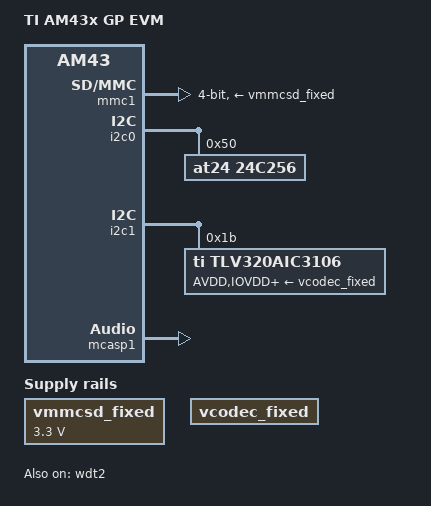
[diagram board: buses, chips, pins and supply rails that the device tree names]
/*
 * Copyright (C) 2013 Texas Instruments Incorporated - http://www.ti.com/
 *
 * This program is free software; you can redistribute it and/or modify
 * it under the terms of the GNU General Public License version 2 as
 * published by the Free Software Foundation.
 */

/* AM43x GP EVM */

/dts-v1/;

#include "am4372.dtsi"
#include <dt-bindings/pinctrl/am43xx.h>
#include <dt-bindings/gpio/gpio.h>

/ {
	model = "TI AM43x GP EVM";
	compatible = "ti,am43x-gp-evm","ti,am4372","ti,am43";

	vmmcsd_fixed: fixedregulator-sd {
		compatible = "regulator-fixed";
		regulator-name = "vmmcsd_fixed";
		regulator-min-microvolt = <3300000>;
		regulator-max-microvolt = <3300000>;
		enable-active-high;
	};

	vcodec_fixed: fixedregulator-codec {
		compatible = "regulator-fixed";
		regulator-name = "vcodec_fixed";
		enable-active-high;
	};

	am43xx_pinmux: pinmux@44e10800 {

		i2c0_pins: pinmux_i2c0_pins {
			pinctrl-single,pins = <
				0x188 (PIN_INPUT_PULLUP | SLEWCTRL_FAST | MUX_MODE0)	/* i2c0_sda.i2c0_sda */
				0x18c (PIN_INPUT_PULLUP | SLEWCTRL_FAST | MUX_MODE0)	/* i2c0_scl.i2c0_scl */
			>;
		};

		i2c1_pins: i2c1_pins {
			pinctrl-single,pins = <
				0x15c	(PIN_INPUT_PULLUP | SLEWCTRL_FAST | MUX_MODE2)	/* spi0_cs0.i2c1_scl */
				0x158	(PIN_INPUT_PULLUP | SLEWCTRL_FAST | MUX_MODE2)	/* spi0_d1.i2c1_sda */
			>;
		};

		mcasp1_pins: pinmux_mcasp1_pins {
			pinctrl-single,pins = <
				0x10c (PIN_INPUT_PULLDOWN | MUX_MODE4) /* mii1_crs.mcasp1_aclkx */
				0x110 (PIN_INPUT_PULLDOWN | MUX_MODE4) /* mii1_rxerr.mcasp1_fsx */
				0x108 (PIN_OUTPUT_PULLDOWN | MUX_MODE4) /* mii1_col.mcasp1_axr2 */
				0x144 (PIN_INPUT_PULLDOWN | MUX_MODE4) /* rmii1_ref_clk.mcasp1_axr3 */
			>;
		};
	};

	ocp {
		sound {
			compatible = "ti,da830-evm-audio";
			ti,model = "AM335x-EVM";
			ti,audio-codec = <&tlv320aic3106>;
			ti,mcasp-controller = <&mcasp1>;
			ti,codec-clock-rate = <12000000>;
			ti,audio-routing =
				"Headphone Jack",       "HPLOUT",
				"Headphone Jack",       "HPROUT",
				"LINE1L",               "Line In",
				"LINE1R",               "Line In";
		};
	};
};

&mmc1 {
	status = "okay";
	vmmc-supply = <&vmmcsd_fixed>;
	bus-width = <4>;
};

&i2c0 {
	status = "okay";
	pinctrl-names = "default";
	pinctrl-0 = <&i2c0_pins>;

	at24@50 {
		compatible = "at24,24c256";
		pagesize = <64>;
		reg = <0x50>;
	};

};

&i2c1 {
	status = "okay";
	pinctrl-names = "default";
	pinctrl-0 = <&i2c1_pins>;

	tlv320aic3106: tlv320aic3106@1b {
		compatible = "ti,tlv320aic3106";
		reg = <0x1b>;
		status = "okay";

		/* Regulators */
		AVDD-supply = <&vcodec_fixed>;
		IOVDD-supply = <&vcodec_fixed>;
		DRVDD-supply = <&vcodec_fixed>;
		DVDD-supply = <&vcodec_fixed>;

	};
};

&mcasp1 {
		pinctrl-names = "default";
		pinctrl-0 = <&mcasp1_pins>;

		status = "okay";

		op-mode = <0>;          /* MCASP_IIS_MODE */
		tdm-slots = <2>;
		/* 16 serializer */
		serial-dir = <  /* 0: INACTIVE, 1: TX, 2: RX */
			0 0 1 2
			0 0 0 0
			0 0 0 0
			0 0 0 0
		>;
		tx-num-evt = <1>;
		rx-num-evt = <1>;
};

&wdt2 {
	status = "okay";
};

&gpio0 {
	status = "okay";
};

&gpio1 {
	status = "okay";
};

&gpio2 {
	status = "okay";
};

&gpio3 {
	status = "okay";
};
